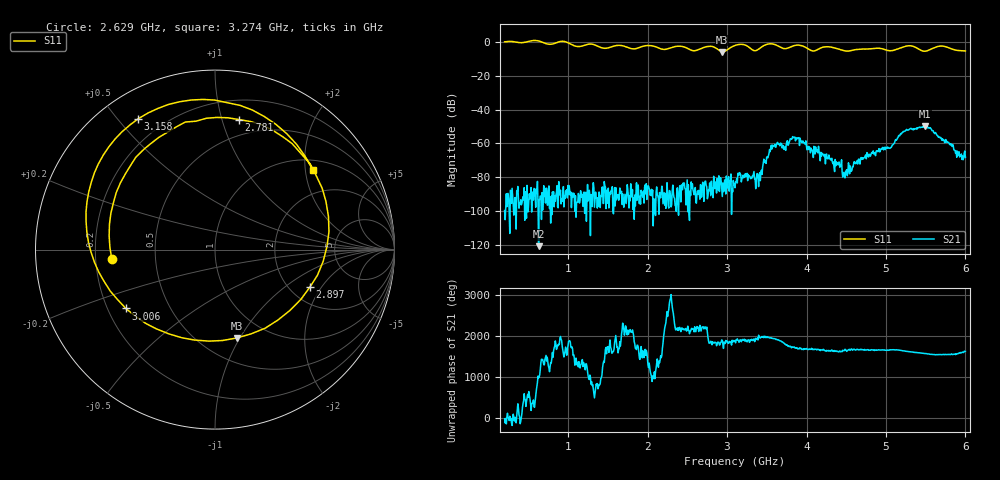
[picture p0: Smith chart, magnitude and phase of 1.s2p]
! NanoVNA-App by OneOfEleven et al v1.1.209 (+OD15)
! Date: 2024-07-30 15:20:35
! Start: 200MHz Stop: 6GHz Points: 801
! S-Parameter data: F S11 S21 S12 S22
# Hz S RI R 50
!  Frequency  S11_Real  S11_Imag  S21_Real  S21_Imag  S12_Real  S12_Imag  S22_Real  S22_Imag
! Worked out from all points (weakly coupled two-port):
!   801 points, 200 MHz to 6 GHz, reference 50 ohm
!   highest |S21| = -49.86 dB at 5.492 GHz (marker M1); lowest = -120.7 dB at 627.8 MHz (marker M2)
!   lowest |S11| = -5.9 dB at 2.941 GHz (marker M3), VSWR 3.06, Z = 36.7 - j48.6 ohm
!   |S11| at or under -10 dB: nowhere
!   S12 and S22 are empty: the file has one direction only
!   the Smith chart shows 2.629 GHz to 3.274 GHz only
!   S11 on the Smith chart (normalised r, x): 2.629 GHz: 0.27, -0.04; 2.781 GHz: 0.36, +1.13; 2.897 GHz: 2.55, -1.57; 3.006 GHz: 0.28, -0.28; 3.158 GHz: 0.11, +0.57; 3.274 GHz: 1.24, +2.19
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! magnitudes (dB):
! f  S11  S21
! 200 MHz  0.0  -99.6
! 627.8 MHz  0.6  -120.7
! 1.171 GHz  -2.5  -90.1
! 2.136 GHz  -3.5  -92.5
! 2.629 GHz  -4.8  -88.0
! 2.781 GHz  -2.7  -83.3
! 2.897 GHz  -4.9  -79.1
! 2.941 GHz  -5.9  -91.3
! 3.006 GHz  -4.5  -81.6
! 3.1 GHz  -2.1  -86.2
! 3.158 GHz  -1.5  -77.2
! 3.274 GHz  -3.1  -79.5
! 3.412 GHz  -3.8  -77.2
! 3.579 GHz  -1.3  -61.9
! 3.825 GHz  -2.5  -55.9
! 4.072 GHz  -5.3  -63.9
! 4.412 GHz  -4.3  -71.0
! 4.485 GHz  -5.3  -80.3
! 5.036 GHz  -5.1  -62.8
! 5.231 GHz  -2.8  -52.8
! 5.492 GHz  -5.5  -49.9
! 6 GHz  -5.3  -68.2
